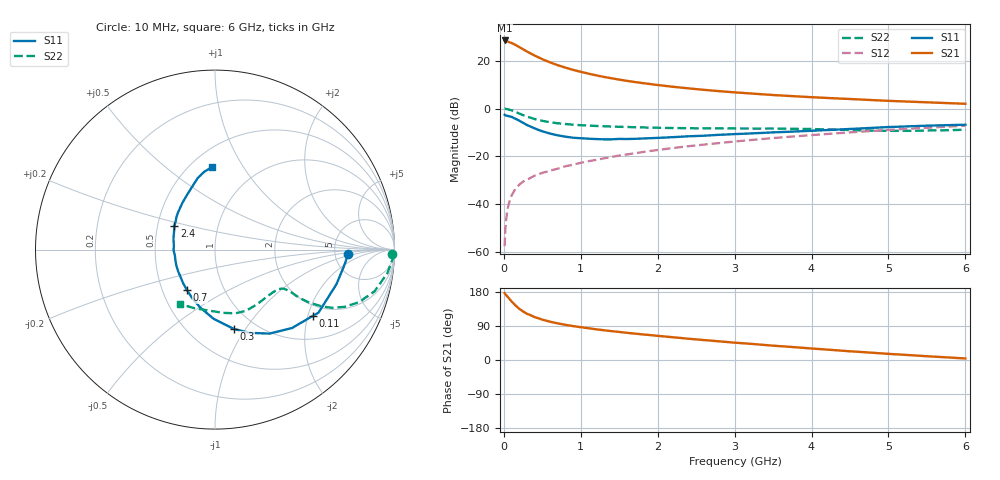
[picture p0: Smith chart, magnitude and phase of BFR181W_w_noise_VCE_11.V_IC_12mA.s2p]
! Infineon Technologies  Discrete & RF Semiconductors
! BFR181W
! VCE =  11. V,  IC =  12 mA
! Common Emitter S-Parameters:  Jan 2017
# GHz  S  MA  R  50
!  f  S11  S21  S12  S22
! GHz  MAG  ANG  MAG  ANG  MAG  ANG  MAG  ANG
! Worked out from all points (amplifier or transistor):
!   77 points, 10 MHz to 6 GHz, reference 50 ohm
!   highest |S21| = 28.6 dB at 10 MHz (marker M1)
!   |S21| within 3 dB of that: start of sweep to 212.7 MHz
!   unconditionally stable (mu >= 1): 1.015 GHz to 3.023 GHz
!   at 130 MHz: K = 0.30, MSG = 30.9 dB, |S12| = -34.8 dB
!   at 2.2 GHz: K = 1.05, MAG = 11.5 dB, |S12| = -16.6 dB
!   at 6 GHz: K = 0.86, MSG = 4.6 dB, |S12| = -7.2 dB
!   lowest NFmin = 1.34 dB at 450 MHz
!   S11 on the Smith chart (normalised r, x): 10 MHz: 6.67, -0.77; 110 MHz: 1.66, -2.16; 300 MHz: 0.80, -0.89; 700 MHz: 0.67, -0.33; 2.4 GHz: 0.61, +0.18; 6 GHz: 0.63, +0.74
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0.01  0.7422 -2.0  26.84 176.5  0.0013 83.6  0.9892 -1.4
0.02  0.724 -7.5  26.16 173.5  0.003 95.3  0.9918 -2.9
0.05  0.7037 -15.9  25.52 166.6  0.008 80.3  0.9693 -7.8
0.1  0.6754 -31.3  23.84 154.5  0.0149 75.4  0.9182 -14.7
0.11  0.6597 -33.9  23.36 152.6  0.016 74.0  0.9047 -15.7
0.15  0.6124 -45.5  21.76 144.2  0.0205 69.8  0.8538 -20.1
0.2  0.5581 -57.0  19.53 135.2  0.0253 67.5  0.7878 -23.9
0.25  0.5019 -67.5  17.54 128.0  0.0294 65.2  0.7292 -26.4
0.3  0.4541 -76.7  15.73 122.1  0.032 63.5  0.6785 -27.9
0.4  0.3853 -91.2  12.94 113.1  0.0391 62.1  0.6034 -29.4
0.5  0.3337 -104.1  10.85 106.5  0.0448 62.7  0.5524 -29.7
0.6  0.2994 -114.9  9.317 101.1  0.0498 63.4  0.5174 -29.6
0.7  0.2748 -124.7  8.135 96.7  0.0549 65.1  0.4918 -29.3
0.9  0.2447 -141.8  6.485 89.5  0.0666 65.7  0.4597 -29.3
1.1  0.2336 -156.2  5.401 83.8  0.0786 67.2  0.4397 -29.7
1.5  0.2311 -179.0  4.051 74.0  0.1035 67.9  0.4145 -32.5
2.1  0.2468 158.0  2.99 61.9  0.142 67.0  0.3934 -40.1
2.4  0.2623 149.4  2.657 56.1  0.1623 66.0  0.3877 -45.0
3.1  0.2958 133.0  2.134 44.3  0.2108 62.7  0.3821 -56.9
4.1  0.348 115.5  1.702 28.9  0.2856 56.2  0.3687 -74.1
5.1  0.4151 102.5  1.432 15.0  0.364 48.3  0.3408 -98.5
6  0.4593 92.3  1.26 4.0  0.4367 40.0  0.3605 -123.0
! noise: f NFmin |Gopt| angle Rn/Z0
0.45  1.34  0.1  16  0.21
0.9  1.38  0.1  32  0.21
1.9  1.82  0.07  -151  0.21
2.4  2.01  0.08  -113  0.26
